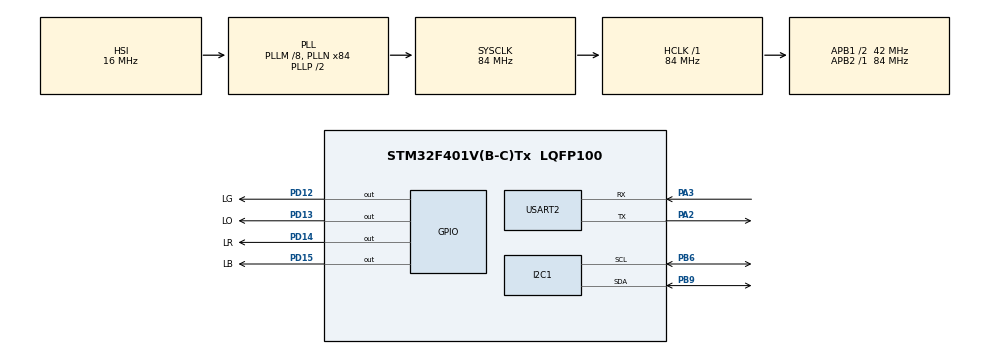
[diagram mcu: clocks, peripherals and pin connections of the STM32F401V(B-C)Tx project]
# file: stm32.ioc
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ADC1.Channel-0\#ChannelRegularConversion=ADC_CHANNEL_TEMPSENSOR
ADC1.ClockPrescaler=ADC_CLOCK_SYNC_PCLK_DIV8
ADC1.ContinuousConvMode=ENABLE
ADC1.DMAContinuousRequests=ENABLE
ADC1.DataAlign=ADC_DATAALIGN_RIGHT
ADC1.DiscontinuousConvMode=DISABLE
ADC1.EOCSelection=ADC_EOC_SINGLE_CONV
ADC1.EnableAnalogWatchDog=false
ADC1.ExternalTrigConv=ADC_SOFTWARE_START
ADC1.ExternalTrigConvEdge=ADC_EXTERNALTRIGCONVEDGE_NONE
ADC1.InjNumberOfConversion=0
ADC1.NbrOfConversion=1
ADC1.NbrOfConversionFlag=1
ADC1.Rank-0\#ChannelRegularConversion=1
ADC1.Resolution=ADC_RESOLUTION_12B
ADC1.SamplingTime-0\#ChannelRegularConversion=ADC_SAMPLETIME_480CYCLES
ADC1.ScanConvMode=DISABLE
ADC1.master=1
Dma.ADC1.0.Direction=DMA_PERIPH_TO_MEMORY
Dma.ADC1.0.FIFOMode=DMA_FIFOMODE_DISABLE
Dma.ADC1.0.Instance=DMA2_Stream0
Dma.ADC1.0.MemDataAlignment=DMA_MDATAALIGN_HALFWORD
Dma.ADC1.0.MemInc=DMA_MINC_ENABLE
Dma.ADC1.0.Mode=DMA_CIRCULAR
Dma.ADC1.0.PeriphDataAlignment=DMA_PDATAALIGN_HALFWORD
Dma.ADC1.0.PeriphInc=DMA_PINC_DISABLE
Dma.ADC1.0.Priority=DMA_PRIORITY_LOW
Dma.Request0=ADC1
I2C1.I2C_Mode=I2C_Fast
Mcu.Family=STM32F4
Mcu.Name=STM32F401V(B-C)Tx
Mcu.Package=LQFP100
NVIC.DMA2_Stream0_IRQn=true\:0\:0\:false\:false\:true\:false
NVIC.PriorityGroup=NVIC_PRIORITYGROUP_0
NVIC.RTC_Alarm_IRQn=true\:0\:0\:false\:false\:true\:true
NVIC.TIM1_UP_TIM10_IRQn=true\:0\:0\:false\:false\:true\:true
NVIC.USART2_IRQn=true\:0\:0\:false\:false\:true\:true
PA2.Mode=Asynchronous
PA2.Signal=USART2_TX
PA3.Mode=Asynchronous
PA3.Signal=USART2_RX
PB6.Mode=I2C
PB6.Signal=I2C1_SCL
PB9.Mode=I2C
PB9.Signal=I2C1_SDA
PD12.GPIO_Label=LG
PD12.Signal=GPIO_Output
PD13.GPIO_Label=LO
PD13.Signal=GPIO_Output
PD14.GPIO_Label=LR
PD14.Signal=GPIO_Output
PD15.GPIO_Label=LB
PD15.Signal=GPIO_Output
ProjectManager.HeapSize=0x200
ProjectManager.StackSize=0x400
ProjectManager.TargetToolchain=SW4STM32
RCC.48MHZClocksFreq_Value=24000000
RCC.AHBFreq_Value=84000000
RCC.APB1CLKDivider=RCC_HCLK_DIV2
RCC.APB1Freq_Value=42000000
RCC.APB1TimFreq_Value=84000000
RCC.APB2Freq_Value=84000000
RCC.APB2TimFreq_Value=84000000
RCC.CortexFreq_Value=84000000
RCC.HCLKFreq_Value=84000000
RCC.HSE_VALUE=8000000
RCC.HSI_VALUE=16000000
RCC.LSE_VALUE=32768
RCC.PLLM=8
RCC.PLLN=84
RCC.PLLQ=7
RCC.SYSCLKFreq_VALUE=84000000
RCC.SYSCLKSource=RCC_SYSCLKSOURCE_PLLCLK
RCC.VCOOutputFreq_Value=168000000
RTC.Alarm=RTC_ALARM_A
RTC.Date=27
RTC.Format=RTC_FORMAT_BIN
RTC.Hours=12
RTC.Minutes=15
RTC.Month=RTC_MONTH_OCTOBER
RTC.Seconds=37
RTC.Seconds_A=10
RTC.WeekDay=RTC_WEEKDAY_SATURDAY
RTC.Year=18
TIM10.Period=8399
TIM10.Prescaler=9999
USART2.VirtualMode=VM_ASYNC
VP_ADC1_TempSens_Input.Mode=IN-TempSens
VP_RTC_VS_RTC_Activate.Mode=RTC_Enabled
VP_RTC_VS_RTC_Alarm_A_Intern.Mode=Alarm A
VP_RTC_VS_RTC_Calendar.Mode=RTC_Calendar
VP_TIM10_VS_ClockSourceINT.Mode=Enable_Timer
board=STM32F401C-DISCO

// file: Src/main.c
/**
  ******************************************************************************
  * @file           : main.c
  * @brief          : Main program body
  ******************************************************************************
  ** This notice applies to any and all portions of this file
  * that are not between comment pairs USER CODE BEGIN and
  * USER CODE END. Other portions of this file, whether
  * inserted by the user or by software development tools
  * are owned by their respective copyright owners.
  *
  * COPYRIGHT(c) 2018 STMicroelectronics
  *
  * Redistribution and use in source and binary forms, with or without modification,
  * are permitted provided that the following conditions are met:
  *   1. Redistributions of source code must retain the above copyright notice,
  *      this list of conditions and the following disclaimer.
  *   2. Redistributions in binary form must reproduce the above copyright notice,
  *      this list of conditions and the following disclaimer in the documentation
  *      and/or other materials provided with the distribution.
  *   3. Neither the name of STMicroelectronics nor the names of its contributors
  *      may be used to endorse or promote products derived from this software
  *      without specific prior written permission.
  *
  * THIS SOFTWARE IS PROVIDED BY THE COPYRIGHT HOLDERS AND CONTRIBUTORS "AS IS"
  * AND ANY EXPRESS OR IMPLIED WARRANTIES, INCLUDING, BUT NOT LIMITED TO, THE
  * IMPLIED WARRANTIES OF MERCHANTABILITY AND FITNESS FOR A PARTICULAR PURPOSE ARE
  * DISCLAIMED. IN NO EVENT SHALL THE COPYRIGHT HOLDER OR CONTRIBUTORS BE LIABLE
  * FOR ANY DIRECT, INDIRECT, INCIDENTAL, SPECIAL, EXEMPLARY, OR CONSEQUENTIAL
  * DAMAGES (INCLUDING, BUT NOT LIMITED TO, PROCUREMENT OF SUBSTITUTE GOODS OR
  * SERVICES; LOSS OF USE, DATA, OR PROFITS; OR BUSINESS INTERRUPTION) HOWEVER
  * CAUSED AND ON ANY THEORY OF LIABILITY, WHETHER IN CONTRACT, STRICT LIABILITY,
  * OR TORT (INCLUDING NEGLIGENCE OR OTHERWISE) ARISING IN ANY WAY OUT OF THE USE
  * OF THIS SOFTWARE, EVEN IF ADVISED OF THE POSSIBILITY OF SUCH DAMAGE.
  *
  ******************************************************************************
  */
#include "main.h"
#include "stm32f4xx_hal.h"

ADC_HandleTypeDef hadc1;
DMA_HandleTypeDef hdma_adc1;

I2C_HandleTypeDef hi2c1;

RTC_HandleTypeDef hrtc;

TIM_HandleTypeDef htim10;

UART_HandleTypeDef huart2;

/* USER CODE BEGIN PV */
/* Private variables ---------------------------------------------------------*/

/* SysTick interrupt */
static uint16_t counter = 0;
#define MSG_BUFFER 50

/* Real Time Clock */
RTC_TimeTypeDef myTime;
RTC_DateTypeDef myDate;

/* Temperature in uC */
uint16_t adcMeasurment;
float temperature;
float vSense;
const float v25 = 0.76; // [Volts]
const float avgSlope = 0.0025; //[Volts/degree]
const float supplyVoltage = 3.0; // [Volts]
const float adcResolution = 4096.0;

/* MCP9808 */
#define MCP9808_ADDRESS (0x18 << 1)
#define MCP9808_CONFIG_REG (0x01)
#define MCP9808_TEMPERATURE_REG (0x05)

uint8_t mcpTemp[2] = {0};

/* LSM303 */
#define LSM303_ACC_ADDRESS (0x19 << 1) // adres akcelerometru: 0011001x
#define LSM303_ACC_CTRL_REG1_A 0x20 // rejestr ustawien 1
#define LSM303_ACC_Z_H_A 0x2D // wyzszy bajt danych osi Z
#define LSM303_ACC_X_L_A 0x28 // mlodszy bajt danych osi X

// mlodszy bajt danych osi X z najstarszym bitem ustawionym na 1 w celu
// wymuszenia autoinkrementacji adresow rejestru w urzadzeniu docelowym
// (zeby moc odczytac wiecej danych na raz)
#define LSM303_ACC_X_L_A_MULTI_READ (LSM303_ACC_X_L_A | 0x80)

#define LSM303_ACC_XYZ_ENABLE 0x07 // 0000 0111

// Maski bitowe
#define LSM303_ACC_100HZ 0x50 //0101 0000

#define LSM303_ACC_RESOLUTION 2.0 // Maksymalna wartosc przyspieszenia [g]

uint8_t accData[6] = {0};

int16_t Xacc = 0;
int16_t Yacc = 0;
int16_t Zacc = 0;

float Xacc_g = 0;
float Yacc_g = 0;
float Zacc_g = 0;

/* USER CODE END PV */

void SystemClock_Config(void);
static void MX_GPIO_Init(void);
static void MX_DMA_Init(void);
static void MX_RTC_Init(void);
static void MX_TIM10_Init(void);
static void MX_USART2_UART_Init(void);
static void MX_ADC1_Init(void);
static void MX_I2C1_Init(void);

/* USER CODE BEGIN PFP */
/* Private function prototypes -----------------------------------------------*/

void HAL_SYSTICK_Callback(void)
{
	if (counter % 300 == 0)
	{
		HAL_I2C_Mem_Read(&hi2c1,
						 LSM303_ACC_ADDRESS,
						 LSM303_ACC_X_L_A_MULTI_READ,
						 1,
						 &accData[0],
						 6,
						 100);

		Xacc = ((accData[1] << 8) | accData[0]);
		Yacc = ((accData[3] << 8) | accData[2]);
		Zacc = ((accData[5] << 8) | accData[4]);

		Xacc_g = ((float)Xacc * LSM303_ACC_RESOLUTION) / (float)INT16_MAX;
		Yacc_g = ((float)Yacc * LSM303_ACC_RESOLUTION) / (float)INT16_MAX;
		Zacc_g = ((float)Zacc * LSM303_ACC_RESOLUTION) / (float)INT16_MAX;

		char data[sizeof(Xacc_g) + sizeof(Yacc_g) + sizeof(Zacc_g) + MSG_BUFFER] = {0};
		const char* msg = "|a|%f:%f:%f.\n\r";

		uint16_t size = (uint16_t)sprintf(&data[0], msg,
										  Xacc_g,
										  Yacc_g,
										  Zacc_g);

		HAL_UART_Transmit_IT(&huart2, (uint8_t*)&data[0], size);
	}

	if (counter == 980)
	{
		HAL_RTC_GetDate(&hrtc, &myDate, RTC_FORMAT_BIN);

		char data[sizeof(myDate.WeekDay) + sizeof(myDate.Month) + sizeof(myDate.Year) + MSG_BUFFER] = {0};
		const char* msg = "|d|%u:%u:%u.\n\r";

		uint16_t size = (uint16_t)sprintf(&data[0], msg,
										  myDate.WeekDay,
										  myDate.Month,
										  myDate.Year);

		HAL_UART_Transmit_IT(&huart2, (uint8_t*)&data[0], size);
	}

	if (counter == 990)
	{
		vSense = (supplyVoltage * adcMeasurment) / (adcResolution - 1);
		temperature = ((vSense - v25) / avgSlope) + 25;

		char data[sizeof(temperature) + MSG_BUFFER] = {0};
		const char* msg = "|u|%f.\n\r";

		uint16_t size = (uint16_t)sprintf(&data[0], msg,
						   	   	   	   	  temperature);

		HAL_UART_Transmit_IT(&huart2, (uint8_t*)&data[0], size);
	}

	if (counter == 999)
	{
		HAL_RTC_GetTime(&hrtc, &myTime, RTC_FORMAT_BIN);

		char data[sizeof(myTime.Hours) + sizeof(myTime.Minutes) + sizeof(myTime.Seconds) + MSG_BUFFER] = {0};
		const char* msg = "|t|%u:%u:%u.\n\r";

		uint16_t size = (uint16_t)sprintf(&data[0], msg,
										  myTime.Hours,
										  myTime.Minutes,
										  myTime.Seconds);

		HAL_UART_Transmit_IT(&huart2, (uint8_t*)&data[0], size);

		counter = 0;
	}

	++counter;
}

void HAL_TIM_PeriodElapsedCallback(TIM_HandleTypeDef* htim)
{
	 HAL_GPIO_TogglePin(LO_GPIO_Port, LO_Pin);
}

/* USER CODE END PFP */

int main(void)
{

  /* MCU Configuration----------------------------------------------------------*/

  /* Reset of all peripherals, Initializes the Flash interface and the Systick. */
  HAL_Init();

  /* Configure the system clock */
  SystemClock_Config();

  /* Initialize all configured peripherals */
  MX_GPIO_Init();
  MX_DMA_Init();
  MX_RTC_Init();
  MX_TIM10_Init();
  MX_USART2_UART_Init();
  MX_ADC1_Init();
  MX_I2C1_Init();
  /* USER CODE BEGIN 2 */

  HAL_TIM_Base_Start_IT(&htim10);
  HAL_ADC_Start_DMA(&hadc1, (uint32_t*)&adcMeasurment, 1);

  uint8_t settings = LSM303_ACC_XYZ_ENABLE | LSM303_ACC_100HZ;
  HAL_I2C_Mem_Write(&hi2c1, LSM303_ACC_ADDRESS, LSM303_ACC_CTRL_REG1_A, 1, &settings, 1, 100);

  /* USER CODE END 2 */

  /* Infinite loop */
  while (1)
  {

  /* USER CODE BEGIN 3 */

	  HAL_GPIO_TogglePin(LR_GPIO_Port, LR_Pin);

  }
  /* USER CODE END 3 */

}

void SystemClock_Config(void)
{

  RCC_OscInitTypeDef RCC_OscInitStruct;
  RCC_ClkInitTypeDef RCC_ClkInitStruct;
  RCC_PeriphCLKInitTypeDef PeriphClkInitStruct;

    /**Configure the main internal regulator output voltage
    */
  __HAL_RCC_PWR_CLK_ENABLE();

  __HAL_PWR_VOLTAGESCALING_CONFIG(PWR_REGULATOR_VOLTAGE_SCALE2);

    /**Initializes the CPU, AHB and APB busses clocks
    */
  RCC_OscInitStruct.OscillatorType = RCC_OSCILLATORTYPE_HSI|RCC_OSCILLATORTYPE_LSI;
  RCC_OscInitStruct.HSIState = RCC_HSI_ON;
  RCC_OscInitStruct.HSICalibrationValue = 16;
  RCC_OscInitStruct.LSIState = RCC_LSI_ON;
  RCC_OscInitStruct.PLL.PLLState = RCC_PLL_ON;
  RCC_OscInitStruct.PLL.PLLSource = RCC_PLLSOURCE_HSI;
  RCC_OscInitStruct.PLL.PLLM = 8;
  RCC_OscInitStruct.PLL.PLLN = 84;
  RCC_OscInitStruct.PLL.PLLP = RCC_PLLP_DIV2;
  RCC_OscInitStruct.PLL.PLLQ = 7;
  if (HAL_RCC_OscConfig(&RCC_OscInitStruct) != HAL_OK)
  {
    _Error_Handler(__FILE__, __LINE__);
  }

    /**Initializes the CPU, AHB and APB busses clocks
    */
  RCC_ClkInitStruct.ClockType = RCC_CLOCKTYPE_HCLK|RCC_CLOCKTYPE_SYSCLK
                              |RCC_CLOCKTYPE_PCLK1|RCC_CLOCKTYPE_PCLK2;
  RCC_ClkInitStruct.SYSCLKSource = RCC_SYSCLKSOURCE_PLLCLK;
  RCC_ClkInitStruct.AHBCLKDivider = RCC_SYSCLK_DIV1;
  RCC_ClkInitStruct.APB1CLKDivider = RCC_HCLK_DIV2;
  RCC_ClkInitStruct.APB2CLKDivider = RCC_HCLK_DIV1;

  if (HAL_RCC_ClockConfig(&RCC_ClkInitStruct, FLASH_LATENCY_2) != HAL_OK)
  {
    _Error_Handler(__FILE__, __LINE__);
  }

  PeriphClkInitStruct.PeriphClockSelection = RCC_PERIPHCLK_RTC;
  PeriphClkInitStruct.RTCClockSelection = RCC_RTCCLKSOURCE_LSI;
  if (HAL_RCCEx_PeriphCLKConfig(&PeriphClkInitStruct) != HAL_OK)
  {
    _Error_Handler(__FILE__, __LINE__);
  }

    /**Configure the Systick interrupt time
    */
  HAL_SYSTICK_Config(HAL_RCC_GetHCLKFreq()/1000);

    /**Configure the Systick
    */
  HAL_SYSTICK_CLKSourceConfig(SYSTICK_CLKSOURCE_HCLK);

  /* SysTick_IRQn interrupt configuration */
  HAL_NVIC_SetPriority(SysTick_IRQn, 0, 0);
}

/* ADC1 init function */
static void MX_ADC1_Init(void)
{

  ADC_ChannelConfTypeDef sConfig;

    /**Configure the global features of the ADC (Clock, Resolution, Data Alignment and number of conversion)
    */
  hadc1.Instance = ADC1;
  hadc1.Init.ClockPrescaler = ADC_CLOCK_SYNC_PCLK_DIV8;
  hadc1.Init.Resolution = ADC_RESOLUTION_12B;
  hadc1.Init.ScanConvMode = DISABLE;
  hadc1.Init.ContinuousConvMode = ENABLE;
  hadc1.Init.DiscontinuousConvMode = DISABLE;
  hadc1.Init.ExternalTrigConvEdge = ADC_EXTERNALTRIGCONVEDGE_NONE;
  hadc1.Init.ExternalTrigConv = ADC_SOFTWARE_START;
  hadc1.Init.DataAlign = ADC_DATAALIGN_RIGHT;
  hadc1.Init.NbrOfConversion = 1;
  hadc1.Init.DMAContinuousRequests = ENABLE;
  hadc1.Init.EOCSelection = ADC_EOC_SINGLE_CONV;
  if (HAL_ADC_Init(&hadc1) != HAL_OK)
  {
    _Error_Handler(__FILE__, __LINE__);
  }

    /**Configure for the selected ADC regular channel its corresponding rank in the sequencer and its sample time.
    */
  sConfig.Channel = ADC_CHANNEL_TEMPSENSOR;
  sConfig.Rank = 1;
  sConfig.SamplingTime = ADC_SAMPLETIME_480CYCLES;
  if (HAL_ADC_ConfigChannel(&hadc1, &sConfig) != HAL_OK)
  {
    _Error_Handler(__FILE__, __LINE__);
  }

}

/* I2C1 init function */
static void MX_I2C1_Init(void)
{

  hi2c1.Instance = I2C1;
  hi2c1.Init.ClockSpeed = 400000;
  hi2c1.Init.DutyCycle = I2C_DUTYCYCLE_2;
  hi2c1.Init.OwnAddress1 = 0;
  hi2c1.Init.AddressingMode = I2C_ADDRESSINGMODE_7BIT;
  hi2c1.Init.DualAddressMode = I2C_DUALADDRESS_DISABLE;
  hi2c1.Init.OwnAddress2 = 0;
  hi2c1.Init.GeneralCallMode = I2C_GENERALCALL_DISABLE;
  hi2c1.Init.NoStretchMode = I2C_NOSTRETCH_DISABLE;
  if (HAL_I2C_Init(&hi2c1) != HAL_OK)
  {
    _Error_Handler(__FILE__, __LINE__);
  }

}

/* RTC init function */
static void MX_RTC_Init(void)
{

  RTC_TimeTypeDef sTime;
  RTC_DateTypeDef sDate;
  RTC_AlarmTypeDef sAlarm;

    /**Initialize RTC Only
    */
  hrtc.Instance = RTC;
  hrtc.Init.HourFormat = RTC_HOURFORMAT_24;
  hrtc.Init.AsynchPrediv = 127;
  hrtc.Init.SynchPrediv = 255;
  hrtc.Init.OutPut = RTC_OUTPUT_DISABLE;
  hrtc.Init.OutPutPolarity = RTC_OUTPUT_POLARITY_HIGH;
  hrtc.Init.OutPutType = RTC_OUTPUT_TYPE_OPENDRAIN;
  if (HAL_RTC_Init(&hrtc) != HAL_OK)
  {
    _Error_Handler(__FILE__, __LINE__);
  }

    /**Initialize RTC and set the Time and Date
    */
  sTime.Hours = 12;
  sTime.Minutes = 15;
  sTime.Seconds = 37;
  sTime.DayLightSaving = RTC_DAYLIGHTSAVING_NONE;
  sTime.StoreOperation = RTC_STOREOPERATION_RESET;
  if (HAL_RTC_SetTime(&hrtc, &sTime, RTC_FORMAT_BIN) != HAL_OK)
  {
    _Error_Handler(__FILE__, __LINE__);
  }

  sDate.WeekDay = RTC_WEEKDAY_SATURDAY;
  sDate.Month = RTC_MONTH_OCTOBER;
  sDate.Date = 27;
  sDate.Year = 18;

  if (HAL_RTC_SetDate(&hrtc, &sDate, RTC_FORMAT_BIN) != HAL_OK)
  {
    _Error_Handler(__FILE__, __LINE__);
  }

    /**Enable the Alarm A
    */
  sAlarm.AlarmTime.Hours = 0;
  sAlarm.AlarmTime.Minutes = 0;
  sAlarm.AlarmTime.Seconds = 10;
  sAlarm.AlarmTime.SubSeconds = 0;
  sAlarm.AlarmTime.DayLightSaving = RTC_DAYLIGHTSAVING_NONE;
  sAlarm.AlarmTime.StoreOperation = RTC_STOREOPERATION_RESET;
  sAlarm.AlarmMask = RTC_ALARMMASK_NONE;
  sAlarm.AlarmSubSecondMask = RTC_ALARMSUBSECONDMASK_ALL;
  sAlarm.AlarmDateWeekDaySel = RTC_ALARMDATEWEEKDAYSEL_DATE;
  sAlarm.AlarmDateWeekDay = 1;
  sAlarm.Alarm = RTC_ALARM_A;
  if (HAL_RTC_SetAlarm_IT(&hrtc, &sAlarm, RTC_FORMAT_BIN) != HAL_OK)
  {
    _Error_Handler(__FILE__, __LINE__);
  }

}

/* TIM10 init function */
static void MX_TIM10_Init(void)
{

  htim10.Instance = TIM10;
  htim10.Init.Prescaler = 9999;
  htim10.Init.CounterMode = TIM_COUNTERMODE_UP;
  htim10.Init.Period = 8399;
  htim10.Init.ClockDivision = TIM_CLOCKDIVISION_DIV1;
  if (HAL_TIM_Base_Init(&htim10) != HAL_OK)
  {
    _Error_Handler(__FILE__, __LINE__);
  }

}

/* USART2 init function */
static void MX_USART2_UART_Init(void)
{

  huart2.Instance = USART2;
  huart2.Init.BaudRate = 115200;
  huart2.Init.WordLength = UART_WORDLENGTH_8B;
  huart2.Init.StopBits = UART_STOPBITS_1;
  huart2.Init.Parity = UART_PARITY_NONE;
  huart2.Init.Mode = UART_MODE_TX_RX;
  huart2.Init.HwFlowCtl = UART_HWCONTROL_NONE;
  huart2.Init.OverSampling = UART_OVERSAMPLING_16;
  if (HAL_UART_Init(&huart2) != HAL_OK)
  {
    _Error_Handler(__FILE__, __LINE__);
  }

}

static void MX_DMA_Init(void)
{
  /* DMA controller clock enable */
  __HAL_RCC_DMA2_CLK_ENABLE();

  /* DMA interrupt init */
  /* DMA2_Stream0_IRQn interrupt configuration */
  HAL_NVIC_SetPriority(DMA2_Stream0_IRQn, 0, 0);
  HAL_NVIC_EnableIRQ(DMA2_Stream0_IRQn);

}

/** Configure pins as
        * Analog
        * Input
        * Output
        * EVENT_OUT
        * EXTI
*/
static void MX_GPIO_Init(void)
{

  GPIO_InitTypeDef GPIO_InitStruct;

  /* GPIO Ports Clock Enable */
  __HAL_RCC_GPIOA_CLK_ENABLE();
  __HAL_RCC_GPIOD_CLK_ENABLE();
  __HAL_RCC_GPIOB_CLK_ENABLE();

  /*Configure GPIO pin Output Level */
  HAL_GPIO_WritePin(GPIOD, LG_Pin|LO_Pin|LR_Pin|LB_Pin, GPIO_PIN_RESET);

  /*Configure GPIO pins : LG_Pin LO_Pin LR_Pin LB_Pin */
  GPIO_InitStruct.Pin = LG_Pin|LO_Pin|LR_Pin|LB_Pin;
  GPIO_InitStruct.Mode = GPIO_MODE_OUTPUT_PP;
  GPIO_InitStruct.Pull = GPIO_NOPULL;
  GPIO_InitStruct.Speed = GPIO_SPEED_FREQ_LOW;
  HAL_GPIO_Init(GPIOD, &GPIO_InitStruct);

}

void _Error_Handler(char *file, int line)
{
  while(1)
  {
  }
}

/************************ (C) COPYRIGHT STMicroelectronics *****END OF FILE****/
